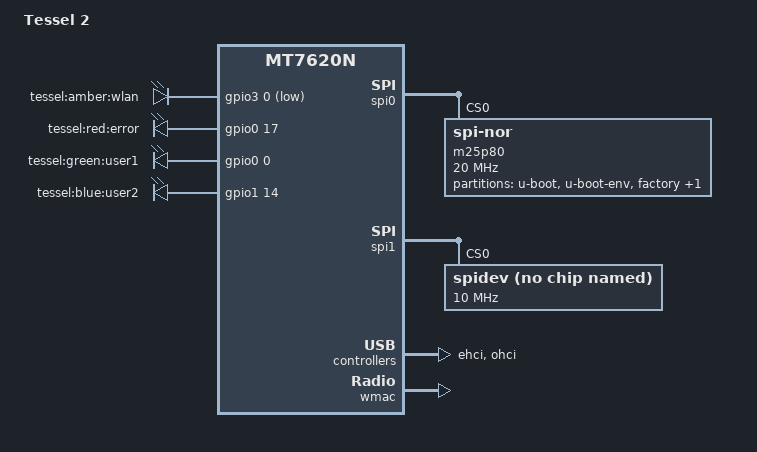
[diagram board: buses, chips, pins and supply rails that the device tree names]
/dts-v1/;

#include "mt7620n.dtsi"

/ {
	compatible = "tessel,tessel2", "wrtnode", "ralink,mt7620n-soc";
	model = "Tessel 2";

	chosen {
		bootargs = "console=ttyS0,115200";
	};

	gpio-leds {
		compatible = "gpio-leds";

		wlan {
			label = "tessel:amber:wlan";
			gpios = <&gpio3 0 1>;
		};
		error {
			label = "tessel:red:error";
			gpios = <&gpio0 17 0>;
		};
		user1 {
			label = "tessel:green:user1";
			gpios = <&gpio0 0 0>;
		};
		user2 {
			label = "tessel:blue:user2";
			gpios = <&gpio1 14 0>;
		};
	};
};

&gpio1 {
	status = "okay";
};

&gpio2 {
	status = "okay";
};

&gpio3 {
	status = "okay";
};

&spi0 {
	status = "okay";

	m25p80@0 {
		#address-cells = <1>;
		#size-cells = <1>;
		compatible = "jedec,spi-nor";
		reg = <0>;
		spi-max-frequency = <20000000>;

		partition@0 {
			label = "u-boot";
			reg = <0x0 0x30000>;
			read-only;
		};

		partition@30000 {
			label = "u-boot-env";
			reg = <0x30000 0x10000>;
			read-only;
		};

		factory: partition@40000 {
			label = "factory";
			reg = <0x40000 0x10000>;
			read-only;
		};

		/*
		 * Firmware partition — deliberately declared WITHOUT a `compatible`.
		 * OpenWrt splits it into kernel + rootfs at boot via the NAME-BASED
		 * mechanism (drivers/mtd/mtdpart.c mtd_partition_split -> split_firmware,
		 * patch generic/pending-4.14/402-*). That path fires only when ALL of:
		 *   - CONFIG_MTD_SPLIT_FIRMWARE=y   (injected by build.sh into the mt7620
		 *                                    kernel config fragment — 18.06's
		 *                                    defconfig had it =y; 19.07 dropped
		 *                                    it, and it is a KERNEL symbol so a
		 *                                    top-level .config seed entry is
		 *                                    dropped by `make defconfig`)
		 *   - partition name == "firmware"  (SPLIT_FIRMWARE_NAME)
		 *   - the node has NO "compatible"  (!of_find_property(...,"compatible"))
		 *
		 * A `compatible = "denx,uimage"` here is DOUBLY wrong on our layout:
		 *   (1) our partitions are bare children of the flash node (no
		 *       `partitions { compatible = "fixed-partitions"; ... }` wrapper),
		 *       and a bare child that carries a compatible is skipped by the
		 *       fixed-partitions parser -> the firmware partition VANISHES
		 *       entirely (hardware-observed: "3 MTD partitions", no firmware);
		 *   (2) even if enumerated, the compatible trips the !compatible guard
		 *       above and disables the name-based split.
		 * The DT-driven denx,uimage path needs the fixed-partitions wrapper and
		 * is deferred to whichever later hop actually removes the name-based
		 * split upstream. Until then, keep this bare (matches proven 17.01/18.06).
		 */
		partition@50000 {
			label = "firmware";
			reg = <0x50000 0x1fb0000>;
		};
	};
};

/*
 * Coprocessor bridge SPI slave (the SAMD21).
 *
 * On the Tessel factory 3.18 kernel this lived as spidev@1 (chip-select 1) under
 * the single spi@b00 controller, which relied on an out-of-tree Ralink SPI
 * master that exposed two chip-selects on one controller. Upstream OpenWrt/LEDE
 * re-expressed the MT7620's second chip-select as a *separate* SPI controller,
 * spi1: spi@b40 (bus 1), arbitrated against spi0 via the shared SPI arbiter.
 * The in-tree spi-rt2880 driver (bus_num==1 => SPI1_POR | ARB_EN) already drives
 * it; it just needs enabling plus a pin-37-only SPI-CS1 pinmux, supplied by the
 * per-kernel patch patches/ramips/patches-<kver>/999-tessel-mt7620-spi-cs1.patch
 * (k4.4 renames the group to "spi_cs1"; k4.14 keeps the stock "spi refclk" name
 * and only trims it to pin 37 -- the .dtsi group reference differs per release).
 *
 * NOTE: `compatible = "spidev"` binds unchanged through 22.03 (k5.10) — the
 * k4.14/5.4/5.10 spidev only WARNs "buggy DT" and still creates /dev/spidevX.Y.
 * It FIRST HARD-BREAKS at 23.05 (kernel 5.15): spidev_of_check() returns
 * -EINVAL ("spidev listed directly in DT is not supported") for a literal
 * "spidev" compatible, so no /dev node is created. From k5.15+ the build
 * harness (apply_overlay) rewrites this to the whitelisted "rohm,dh2228fv"
 * (the /dev node name spidevBUS.CS is unchanged, so spid is unaffected). The
 * rewrite is version-gated because "spidev" anywhere in the list still trips
 * the 5.15 check and <=k5.10 needs the bare "spidev" to bind via modalias.
 */
&spi1 {
	status = "okay";

	spidev@0 {
		#address-cells = <1>;
		#size-cells = <1>;
		compatible = "spidev";
		reg = <0>;
		spi-max-frequency = <10000000>;
	};
};

&ehci {
	status = "okay";
};

&ohci {
	status = "okay";
};

&ethernet {
	mtd-mac-address = <&factory 0x4>;
	mediatek,portmap = "wllll";
};

&wmac {
	ralink,mtd-eeprom = <&factory 0>;
};

/*
 * Mux the peripheral pin groups we drive as GPIO (notably the "i2c" group,
 * pins 1 & 2 = the coprocessor SYNC/IRQ lines that spid exports via sysfs).
 *
 * BOTH property spellings are supplied deliberately, because the ramips
 * rt2880 pinmux driver changed how it parses this node across our hop range:
 *   - <=19.07 (k<=4.14): the driver ships its own dt_node_to_map that reads the
 *     ralink-specific `ralink,group` / `ralink,function` properties.
 *   - 21.02+ (k5.4, driver moved to drivers/staging/mt7621-pinctrl): dt_node_to_map
 *     was switched to the GENERIC pinconf_generic_dt_node_to_map_all, which reads
 *     the standard `groups` / `function` properties and IGNORES `ralink,*`.
 * Carrying both keeps this single overlay DTS correct on every hop: each parser
 * reads its own spelling and ignores the other. Without the generic spelling the
 * i2c group is never muxed to gpio at 5.4, so spid's `echo 2 > .../export` fails
 * with `pin 2 is not set to gpio mux` (EINVAL) and the bridge crash-loops.
 */
&pinctrl {
	state_default: pinctrl0 {
		default {
			ralink,group = "ephy", "wled", "pa", "i2c", "wdt", "uartf";
			ralink,function = "gpio";
			groups = "ephy", "wled", "pa", "i2c", "wdt", "uartf";
			function = "gpio";
		};
	};
};
